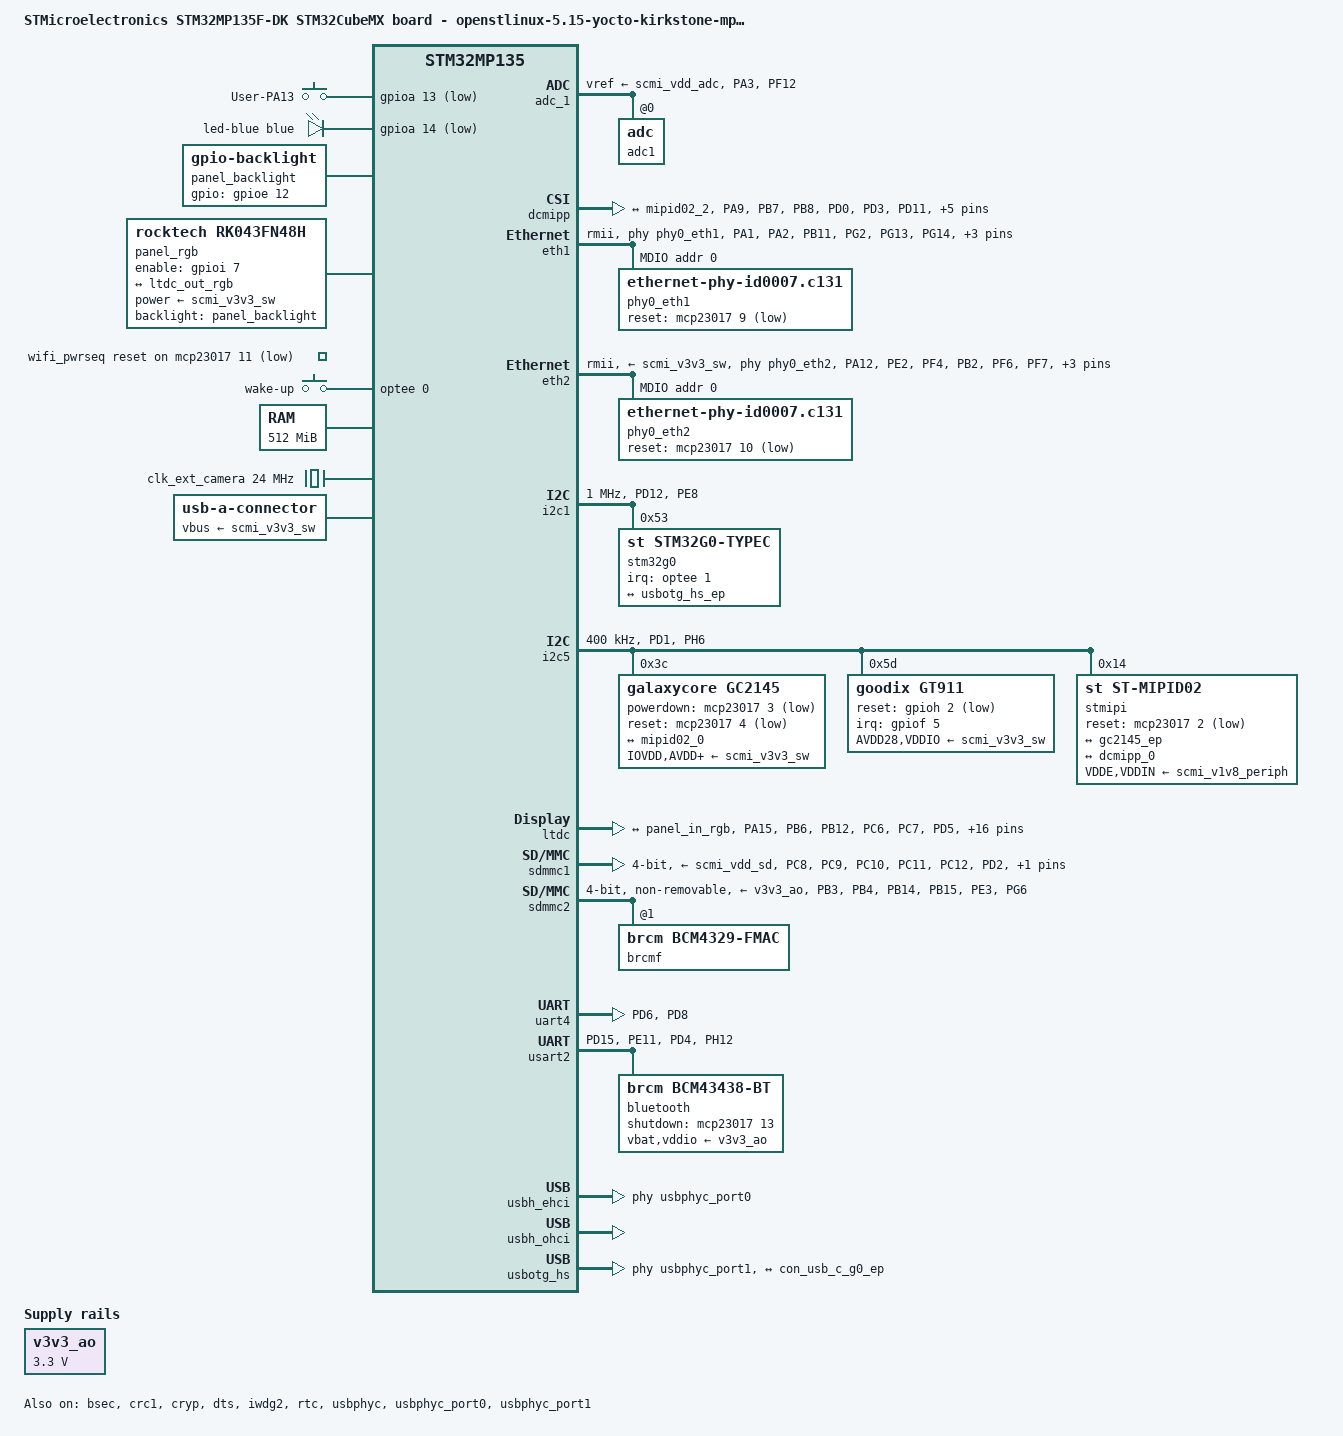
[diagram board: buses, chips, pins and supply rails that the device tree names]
/dts-v1/;
#include <dt-bindings/pinctrl/stm32-pinfunc.h>
#include "stm32mp135.dtsi"
#include "stm32mp13xf.dtsi"

/* USER CODE BEGIN includes */
#include <dt-bindings/gpio/gpio.h>
#include <dt-bindings/input/input.h>
#include <dt-bindings/leds/common.h>
#include <dt-bindings/rtc/rtc-stm32.h>
/* USER CODE END includes */

/{
	model = "STMicroelectronics STM32MP135F-DK STM32CubeMX board - openstlinux-5.15-yocto-kirkstone-mp1-v22.06.15";
	compatible = "st,stm32mp135f-board_135f-dk-mx", "st,stm32mp135";

	/* USER CODE BEGIN root */

	aliases{
		ethernet0 = &eth1;
		ethernet1 = &eth2;
		serial0 = &uart4;
		serial1 = &usart1;
		serial2 = &uart8;
		serial3 = &usart2;
	};

	chosen{
		#address-cells = <1>;
		#size-cells = <1>;
		ranges;
		stdout-path = "serial0:115200n8";

		framebuffer{
			compatible = "simple-framebuffer";
			clocks = <&rcc LTDC_PX>;
			status = "disabled";
		};
	};

	gpio-keys{
		compatible = "gpio-keys";

		user-pa13{
			label = "User-PA13";
			linux,code = <BTN_1>;
			gpios = <&gpioa 13 (GPIO_ACTIVE_LOW | GPIO_PULL_UP)>;
		};
	};

	leds{
		compatible = "gpio-leds";

		led-blue{
			function = LED_FUNCTION_HEARTBEAT;
			color = <LED_COLOR_ID_BLUE>;
			gpios = <&gpioa 14 GPIO_ACTIVE_LOW>;
			linux,default-trigger = "heartbeat";
			default-state = "off";
		};
	};

	v3v3_ao:v3v3_ao{
		compatible = "regulator-fixed";
		regulator-name = "v3v3_ao";
		regulator-min-microvolt = <3300000>;
		regulator-max-microvolt = <3300000>;
		regulator-always-on;
	};

	panel_backlight:panel-backlight{
		compatible = "gpio-backlight";
		gpios = <&gpioe 12 GPIO_ACTIVE_HIGH>;
		default-on;
		default-brightness-level = <0>;
		status = "okay";
	};

	panel_rgb:panel-rgb{
		compatible = "rocktech,rk043fn48h", "panel-dpi";
		enable-gpios = <&gpioi 7 GPIO_ACTIVE_HIGH>;
		backlight = <&panel_backlight>;
		power-supply = <&scmi_v3v3_sw>;
		data-mapping = "bgr666";
		status = "okay";
		width-mm = <105>;
		height-mm = <67>;

		port{

			panel_in_rgb:endpoint{
				remote-endpoint = <&ltdc_out_rgb>;
			};
		};

		panel-timing{
			clock-frequency = <10000000>;
			hactive = <480>;
			vactive = <272>;
			hsync-len = <52>;
			hfront-porch = <10>;
			hback-porch = <10>;
			vsync-len = <10>;
			vfront-porch = <10>;
			vback-porch = <10>;
			hsync-active = <0>;
			vsync-active = <0>;
			de-active = <1>;
			pixelclk-active = <1>;
		};
	};

	wifi_pwrseq:wifi-pwrseq{
		compatible = "mmc-pwrseq-simple";
		reset-gpios = <&mcp23017 11 GPIO_ACTIVE_LOW>;
	};

	wake_up{
		compatible = "gpio-keys";
		status = "okay";

		button{
			label = "wake-up";
			linux,code = <KEY_WAKEUP>;
			interrupts-extended = <&optee 0>;
			status = "okay";
		};
	};
	/* USER CODE END root */

	memory@c0000000{
		device_type = "memory";
		reg = <0xc0000000 0x20000000>;
	};

	reserved-memory{
		#address-cells = <1>;
		#size-cells = <1>;
		ranges;

		/* USER CODE BEGIN reserved-memory */

		optee_framebuffer@dd000000{
			reg = <0xdd000000 0x1000000>;
			no-map;
		};

		optee@de000000{
			reg = <0xde000000 0x2000000>;
			no-map;
		};
		/* USER CODE END reserved-memory */
	};

	clocks{

		/* USER CODE BEGIN clocks */

		clk_ext_camera:clk-ext-camera{
			#clock-cells = <0>;
			compatible = "fixed-clock";
			clock-frequency = <24000000>;
		};

		clk_mco1:clk-mco1{
			#clock-cells = <0>;
			compatible = "fixed-clock";
			clock-frequency = <24000000>;
		};
		/* USER CODE END clocks */
	};
};

&pinctrl{

	adc1_pins_mx:adc1_mx-0{

		pins{
			pinmux = <STM32_PINMUX('A', 3, ANALOG)>,
					<STM32_PINMUX('F', 12, ANALOG)>;
		};
	};

	adc1_sleep_pins_mx:adc1_sleep_mx-0{

		pins{
			pinmux = <STM32_PINMUX('A', 3, ANALOG)>,
					<STM32_PINMUX('F', 12, ANALOG)>;
		};
	};

	dcmipp_pins_mx:dcmipp_mx-0{

		pins{
			pinmux = <STM32_PINMUX('A', 9, AF13)>,
					<STM32_PINMUX('B', 7, AF14)>,
					<STM32_PINMUX('B', 8, AF13)>,
					<STM32_PINMUX('D', 0, AF13)>,
					<STM32_PINMUX('D', 3, AF13)>,
					<STM32_PINMUX('D', 11, AF14)>,
					<STM32_PINMUX('E', 4, AF13)>,
					<STM32_PINMUX('E', 14, AF13)>,
					<STM32_PINMUX('G', 9, AF13)>,
					<STM32_PINMUX('G', 10, AF13)>,
					<STM32_PINMUX('H', 8, AF13)>;
			bias-disable;
		};
	};

	dcmipp_sleep_pins_mx:dcmipp_sleep_mx-0{

		pins{
			pinmux = <STM32_PINMUX('A', 9, ANALOG)>,
					<STM32_PINMUX('B', 7, ANALOG)>,
					<STM32_PINMUX('B', 8, ANALOG)>,
					<STM32_PINMUX('D', 0, ANALOG)>,
					<STM32_PINMUX('D', 3, ANALOG)>,
					<STM32_PINMUX('D', 11, ANALOG)>,
					<STM32_PINMUX('E', 4, ANALOG)>,
					<STM32_PINMUX('E', 14, ANALOG)>,
					<STM32_PINMUX('G', 9, ANALOG)>,
					<STM32_PINMUX('G', 10, ANALOG)>,
					<STM32_PINMUX('H', 8, ANALOG)>;
		};
	};

	eth1_pins_mx:eth1_mx-0{

		pins1{
			pinmux = <STM32_PINMUX('A', 1, AF11)>,
					<STM32_PINMUX('A', 2, AF11)>,
					<STM32_PINMUX('B', 11, AF11)>,
					<STM32_PINMUX('G', 2, AF11)>,
					<STM32_PINMUX('G', 13, AF11)>,
					<STM32_PINMUX('G', 14, AF11)>;
			bias-disable;
			drive-push-pull;
			slew-rate = <1>;
		};

		pins2{
			pinmux = <STM32_PINMUX('C', 1, AF10)>,
					<STM32_PINMUX('C', 4, AF11)>,
					<STM32_PINMUX('C', 5, AF11)>;
			bias-disable;
		};
	};

	eth1_sleep_pins_mx:eth1_sleep_mx-0{

		pins{
			pinmux = <STM32_PINMUX('A', 1, ANALOG)>,
					<STM32_PINMUX('A', 2, ANALOG)>,
					<STM32_PINMUX('B', 11, ANALOG)>,
					<STM32_PINMUX('C', 1, ANALOG)>,
					<STM32_PINMUX('C', 4, ANALOG)>,
					<STM32_PINMUX('C', 5, ANALOG)>,
					<STM32_PINMUX('G', 2, ANALOG)>,
					<STM32_PINMUX('G', 13, ANALOG)>,
					<STM32_PINMUX('G', 14, ANALOG)>;
		};
	};

	eth2_pins_mx:eth2_mx-0{

		pins1{
			pinmux = <STM32_PINMUX('A', 12, AF11)>,
					<STM32_PINMUX('E', 2, AF10)>,
					<STM32_PINMUX('F', 4, AF11)>;
			bias-disable;
		};

		pins2{
			pinmux = <STM32_PINMUX('B', 2, AF11)>,
					<STM32_PINMUX('F', 6, AF11)>,
					<STM32_PINMUX('F', 7, AF11)>,
					<STM32_PINMUX('G', 5, AF10)>,
					<STM32_PINMUX('G', 8, AF13)>,
					<STM32_PINMUX('G', 11, AF10)>;
			bias-disable;
			drive-push-pull;
			slew-rate = <1>;
		};
	};

	eth2_sleep_pins_mx:eth2_sleep_mx-0{

		pins{
			pinmux = <STM32_PINMUX('A', 12, ANALOG)>,
					<STM32_PINMUX('B', 2, ANALOG)>,
					<STM32_PINMUX('E', 2, ANALOG)>,
					<STM32_PINMUX('F', 4, ANALOG)>,
					<STM32_PINMUX('F', 6, ANALOG)>,
					<STM32_PINMUX('F', 7, ANALOG)>,
					<STM32_PINMUX('G', 5, ANALOG)>,
					<STM32_PINMUX('G', 8, ANALOG)>,
					<STM32_PINMUX('G', 11, ANALOG)>;
		};
	};

	i2c1_pins_mx:i2c1_mx-0{

		pins{
			pinmux = <STM32_PINMUX('D', 12, AF5)>,
					<STM32_PINMUX('E', 8, AF5)>;
			bias-disable;
			drive-open-drain;
			slew-rate = <0>;
		};
	};

	i2c1_sleep_pins_mx:i2c1_sleep_mx-0{

		pins{
			pinmux = <STM32_PINMUX('D', 12, ANALOG)>,
					<STM32_PINMUX('E', 8, ANALOG)>;
		};
	};

	i2c5_pins_mx:i2c5_mx-0{

		pins{
			pinmux = <STM32_PINMUX('D', 1, AF4)>,
					<STM32_PINMUX('H', 6, AF4)>;
			bias-disable;
			drive-open-drain;
			slew-rate = <0>;
		};
	};

	i2c5_sleep_pins_mx:i2c5_sleep_mx-0{

		pins{
			pinmux = <STM32_PINMUX('D', 1, ANALOG)>,
					<STM32_PINMUX('H', 6, ANALOG)>;
		};
	};

	ltdc_pins_mx:ltdc_mx-0{

		pins{
			pinmux = <STM32_PINMUX('A', 15, AF11)>,
					<STM32_PINMUX('B', 6, AF7)>,
					<STM32_PINMUX('B', 12, AF13)>,
					<STM32_PINMUX('C', 6, AF14)>,
					<STM32_PINMUX('C', 7, AF14)>,
					<STM32_PINMUX('D', 5, AF14)>,
					<STM32_PINMUX('D', 9, AF13)>,
					<STM32_PINMUX('D', 10, AF14)>,
					<STM32_PINMUX('D', 14, AF14)>,
					<STM32_PINMUX('E', 0, AF14)>,
					<STM32_PINMUX('E', 7, AF14)>,
					<STM32_PINMUX('E', 9, AF14)>,
					<STM32_PINMUX('E', 13, AF14)>,
					<STM32_PINMUX('F', 1, AF13)>,
					<STM32_PINMUX('F', 2, AF14)>,
					<STM32_PINMUX('F', 3, AF14)>,
					<STM32_PINMUX('G', 0, AF14)>,
					<STM32_PINMUX('G', 4, AF11)>,
					<STM32_PINMUX('G', 7, AF14)>,
					<STM32_PINMUX('H', 9, AF11)>,
					<STM32_PINMUX('H', 13, AF14)>,
					<STM32_PINMUX('H', 14, AF11)>;
			bias-disable;
			drive-push-pull;
			slew-rate = <0>;
		};
	};

	ltdc_sleep_pins_mx:ltdc_sleep_mx-0{

		pins{
			pinmux = <STM32_PINMUX('A', 15, ANALOG)>,
					<STM32_PINMUX('B', 6, ANALOG)>,
					<STM32_PINMUX('B', 12, ANALOG)>,
					<STM32_PINMUX('C', 6, ANALOG)>,
					<STM32_PINMUX('C', 7, ANALOG)>,
					<STM32_PINMUX('D', 5, ANALOG)>,
					<STM32_PINMUX('D', 9, ANALOG)>,
					<STM32_PINMUX('D', 10, ANALOG)>,
					<STM32_PINMUX('D', 14, ANALOG)>,
					<STM32_PINMUX('E', 0, ANALOG)>,
					<STM32_PINMUX('E', 7, ANALOG)>,
					<STM32_PINMUX('E', 9, ANALOG)>,
					<STM32_PINMUX('E', 13, ANALOG)>,
					<STM32_PINMUX('F', 1, ANALOG)>,
					<STM32_PINMUX('F', 2, ANALOG)>,
					<STM32_PINMUX('F', 3, ANALOG)>,
					<STM32_PINMUX('G', 0, ANALOG)>,
					<STM32_PINMUX('G', 4, ANALOG)>,
					<STM32_PINMUX('G', 7, ANALOG)>,
					<STM32_PINMUX('H', 9, ANALOG)>,
					<STM32_PINMUX('H', 13, ANALOG)>,
					<STM32_PINMUX('H', 14, ANALOG)>;
		};
	};

	rtc_pins_mx:rtc_mx-0{

		pins{
			pinmux = <STM32_PINMUX('I', 1, ANALOG)>;
		};
	};

	rtc_sleep_pins_mx:rtc_sleep_mx-0{

		pins{
			pinmux = <STM32_PINMUX('I', 1, ANALOG)>;
		};
	};

	sdmmc1_pins_mx:sdmmc1_mx-0{

		pins{
			pinmux = <STM32_PINMUX('C', 8, AF12)>,
					<STM32_PINMUX('C', 9, AF12)>,
					<STM32_PINMUX('C', 10, AF12)>,
					<STM32_PINMUX('C', 11, AF12)>,
					<STM32_PINMUX('C', 12, AF12)>,
					<STM32_PINMUX('D', 2, AF12)>;
			bias-disable;
			drive-push-pull;
			slew-rate = <1>;
		};
	};

	sdmmc1_opendrain_pins_mx:sdmmc1_opendrain_mx-0{

		pins1{
			pinmux = <STM32_PINMUX('C', 8, AF12)>,
					<STM32_PINMUX('C', 9, AF12)>,
					<STM32_PINMUX('C', 10, AF12)>,
					<STM32_PINMUX('C', 11, AF12)>,
					<STM32_PINMUX('C', 12, AF12)>;
			bias-disable;
			drive-push-pull;
			slew-rate = <1>;
		};

		pins2{
			pinmux = <STM32_PINMUX('D', 2, AF12)>;
			bias-disable;
			drive-open-drain;
			slew-rate = <1>;
		};
	};

	sdmmc1_sleep_pins_mx:sdmmc1_sleep_mx-0{

		pins{
			pinmux = <STM32_PINMUX('C', 8, ANALOG)>,
					<STM32_PINMUX('C', 9, ANALOG)>,
					<STM32_PINMUX('C', 10, ANALOG)>,
					<STM32_PINMUX('C', 11, ANALOG)>,
					<STM32_PINMUX('C', 12, ANALOG)>,
					<STM32_PINMUX('D', 2, ANALOG)>;
		};
	};

	sdmmc2_pins_mx:sdmmc2_mx-0{

		pins{
			pinmux = <STM32_PINMUX('B', 3, AF10)>,
					<STM32_PINMUX('B', 4, AF10)>,
					<STM32_PINMUX('B', 14, AF10)>,
					<STM32_PINMUX('B', 15, AF10)>,
					<STM32_PINMUX('E', 3, AF10)>,
					<STM32_PINMUX('G', 6, AF10)>;
			bias-pull-up;
			drive-push-pull;
			slew-rate = <1>;
		};
	};

	sdmmc2_opendrain_pins_mx:sdmmc2_opendrain_mx-0{

		pins1{
			pinmux = <STM32_PINMUX('B', 3, AF10)>,
					<STM32_PINMUX('B', 4, AF10)>,
					<STM32_PINMUX('B', 14, AF10)>,
					<STM32_PINMUX('B', 15, AF10)>,
					<STM32_PINMUX('E', 3, AF10)>;
			bias-pull-up;
			drive-push-pull;
			slew-rate = <1>;
		};

		pins2{
			pinmux = <STM32_PINMUX('G', 6, AF10)>;
			bias-pull-up;
			drive-open-drain;
			slew-rate = <1>;
		};
	};

	sdmmc2_sleep_pins_mx:sdmmc2_sleep_mx-0{

		pins{
			pinmux = <STM32_PINMUX('B', 3, ANALOG)>,
					<STM32_PINMUX('B', 4, ANALOG)>,
					<STM32_PINMUX('B', 14, ANALOG)>,
					<STM32_PINMUX('B', 15, ANALOG)>,
					<STM32_PINMUX('E', 3, ANALOG)>,
					<STM32_PINMUX('G', 6, ANALOG)>;
		};
	};

	uart4_pins_mx:uart4_mx-0{

		pins1{
			pinmux = <STM32_PINMUX('D', 6, AF8)>;
			bias-disable;
			drive-push-pull;
			slew-rate = <0>;
		};

		pins2{
			pinmux = <STM32_PINMUX('D', 8, AF8)>;
			bias-disable;
		};
	};

	uart4_sleep_pins_mx:uart4_sleep_mx-0{

		pins{
			pinmux = <STM32_PINMUX('D', 6, ANALOG)>,
					<STM32_PINMUX('D', 8, ANALOG)>;
		};
	};

	usart2_pins_mx:usart2_mx-0{

		pins1{
			pinmux = <STM32_PINMUX('D', 15, AF1)>,
					<STM32_PINMUX('E', 11, AF2)>;
			bias-disable;
		};

		pins2{
			pinmux = <STM32_PINMUX('D', 4, AF3)>,
					<STM32_PINMUX('H', 12, AF1)>;
			bias-disable;
			drive-push-pull;
			slew-rate = <0>;
		};
	};

	usart2_sleep_pins_mx:usart2_sleep_mx-0{

		pins{
			pinmux = <STM32_PINMUX('D', 4, ANALOG)>,
					<STM32_PINMUX('D', 15, ANALOG)>,
					<STM32_PINMUX('E', 11, ANALOG)>,
					<STM32_PINMUX('H', 12, ANALOG)>;
		};
	};
};

&adc_1{
	pinctrl-names = "default", "sleep";
	pinctrl-0 = <&adc1_pins_mx>;
	pinctrl-1 = <&adc1_sleep_pins_mx>;
	status = "okay";

	/* USER CODE BEGIN adc_1 */
	vdda-supply = <&scmi_vdd_adc>;
	vref-supply = <&scmi_vdd_adc>;

	adc1:adc@0{
		status = "okay";

		channel@6{
			reg = <6>;
			st,min-sample-time-ns = <5000>;
		};

		channel@12{
			reg = <12>;
			st,min-sample-time-ns = <5000>;
		};
	};
	/* USER CODE END adc_1 */
};

&bsec{
	status = "okay";
};

&crc1{
	status = "okay";
};

&cryp{
	status = "okay";
};

&dcmipp{
	pinctrl-names = "default", "sleep";
	pinctrl-0 = <&dcmipp_pins_mx>;
	pinctrl-1 = <&dcmipp_sleep_pins_mx>;
	status = "okay";

	/* USER CODE BEGIN dcmipp */

	port{

		dcmipp_0:endpoint{
			remote-endpoint = <&mipid02_2>;
			bus-width = <8>;
			hsync-active = <0>;
			vsync-active = <0>;
			pclk-sample = <0>;
			pclk-max-frequency = <120000000>;
		};
	};
	/* USER CODE END dcmipp */
};

&dma1{
	status = "okay";

	/* USER CODE BEGIN dma1 */
	sram = <&dma_pool>;
	/* USER CODE END dma1 */
};

&dma2{
	status = "okay";

	/* USER CODE BEGIN dma2 */
	sram = <&dma_pool>;
	/* USER CODE END dma2 */
};

&dmamux1{
	status = "okay";
	dma-masters = <&dma1 &dma2>;
	dma-channels = <16>;
};

&dts{
	status = "okay";
};

&eth1{
	pinctrl-names = "default", "sleep";
	pinctrl-0 = <&eth1_pins_mx>;
	pinctrl-1 = <&eth1_sleep_pins_mx>;
	status = "okay";

	/* USER CODE BEGIN eth1 */
	phy-mode = "rmii";
	max-speed = <100>;
	phy-handle = <&phy0_eth1>;
	nvmem-cells = <&ethernet_mac1_address>;
	nvmem-cell-names = "mac-address";

	mdio1{
		#address-cells = <1>;
		#size-cells = <0>;
		compatible = "snps,dwmac-mdio";

		phy0_eth1:ethernet-phy@0{
			compatible = "ethernet-phy-id0007.c131";
			reset-gpios = <&mcp23017 9 GPIO_ACTIVE_LOW>;
			reg = <0>;
			wakeup-source;
		};
	};
	/* USER CODE END eth1 */
};

&eth2{
	pinctrl-names = "default", "sleep";
	pinctrl-0 = <&eth2_pins_mx>;
	pinctrl-1 = <&eth2_sleep_pins_mx>;
	status = "okay";

	/* USER CODE BEGIN eth2 */
	phy-mode = "rmii";
	max-speed = <100>;
	phy-handle = <&phy0_eth2>;
	st,ext-phyclk;
	phy-supply = <&scmi_v3v3_sw>;
	nvmem-cells = <&ethernet_mac2_address>;
	nvmem-cell-names = "mac-address";

	mdio1{
		#address-cells = <1>;
		#size-cells = <0>;
		compatible = "snps,dwmac-mdio";

		phy0_eth2:ethernet-phy@0{
			compatible = "ethernet-phy-id0007.c131";
			reset-gpios = <&mcp23017 10 GPIO_ACTIVE_LOW>;
			reg = <0>;
		};
	};
	/* USER CODE END eth2 */
};

&i2c1{
	pinctrl-names = "default", "sleep";
	pinctrl-0 = <&i2c1_pins_mx>;
	pinctrl-1 = <&i2c1_sleep_pins_mx>;
	status = "okay";

	/* USER CODE BEGIN i2c1 */
	i2c-scl-rising-time-ns = <96>;
	i2c-scl-falling-time-ns = <3>;
	clock-frequency = <1000000>;
	/delete-property/ dmas;
	/delete-property/ dma-names;

	mcp23017:pinctrl@21{
		compatible = "microchip,mcp23017";
		reg = <0x21>;
		gpio-controller;
		#gpio-cells = <2>;
		interrupts = <12 IRQ_TYPE_LEVEL_LOW>;
		interrupt-parent = <&gpiog>;
		pinctrl-names = "default";
		pinctrl-0 = <&mcp23017_pins_a>;
		interrupt-controller;
		#interrupt-cells = <2>;
		microchip,irq-mirror;
	};

	stm32g0@53{
		compatible = "st,stm32g0-typec";
		reg = <0x53>;
		interrupts-extended = <&optee 1>;
		firmware-name = "stm32g0-ucsi.mp135f-dk.fw";
		wakeup-source;

		connector{
			compatible = "usb-c-connector";
			label = "USB-C";

			port{

				con_usb_c_g0_ep:endpoint{
					remote-endpoint = <&usbotg_hs_ep>;
				};
			};
		};
	};
	/* USER CODE END i2c1 */
};

&i2c5{
	pinctrl-names = "default", "sleep";
	pinctrl-0 = <&i2c5_pins_mx>;
	pinctrl-1 = <&i2c5_sleep_pins_mx>;
	status = "okay";

	/* USER CODE BEGIN i2c5 */
	i2c-scl-rising-time-ns = <170>;
	i2c-scl-falling-time-ns = <5>;
	clock-frequency = <400000>;
	/delete-property/ dmas;
	/delete-property/ dma-names;

	gc2145:gc2145@3c{
		compatible = "galaxycore,gc2145";
		reg = <0x3c>;
		clocks = <&clk_ext_camera>;
		IOVDD-supply = <&scmi_v3v3_sw>;
		AVDD-supply = <&scmi_v3v3_sw>;
		DVDD-supply = <&scmi_v3v3_sw>;
		powerdown-gpios = <&mcp23017 3 (GPIO_ACTIVE_LOW | GPIO_PUSH_PULL)>;
		reset-gpios = <&mcp23017 4 (GPIO_ACTIVE_LOW | GPIO_PUSH_PULL)>;
		status = "okay";

		port{

			gc2145_ep:endpoint{
				remote-endpoint = <&mipid02_0>;
				clock-lanes = <0>;
				data-lanes = <1 2>;
			};
		};
	};

	goodix:goodix_ts@5d{
		compatible = "goodix,gt911";
		reg = <0x5d>;
		pinctrl-names = "default";
		pinctrl-0 = <&goodix_pins_a>;
		interrupt-parent = <&gpiof>;
		interrupts = <5 IRQ_TYPE_EDGE_FALLING>;
		reset-gpios = <&gpioh 2 GPIO_ACTIVE_LOW>;
		AVDD28-supply = <&scmi_v3v3_sw>;
		VDDIO-supply = <&scmi_v3v3_sw>;
		touchscreen-size-x = <480>;
		touchscreen-size-y = <272>;
		status = "okay";
	};

	ov5640:camera@3c{
		compatible = "ovti,ov5640";
		reg = <0x3c>;
		clocks = <&clk_ext_camera>;
		clock-names = "xclk";
		DOVDD-supply = <&scmi_v3v3_sw>;
		status = "disabled";
		powerdown-gpios = <&mcp23017 3 (GPIO_ACTIVE_LOW | GPIO_PUSH_PULL)>;
		reset-gpios = <&mcp23017 4 (GPIO_ACTIVE_LOW | GPIO_PUSH_PULL)>;

		port{

			ov5640_0:endpoint{
				clock-lanes = <0>;
				data-lanes = <1 2>;
			};
		};
	};

	stmipi:stmipi@14{
		compatible = "st,st-mipid02";
		reg = <0x14>;
		status = "okay";
		clocks = <&clk_mco1>;
		clock-names = "xclk";
		VDDE-supply = <&scmi_v1v8_periph>;
		VDDIN-supply = <&scmi_v1v8_periph>;
		reset-gpios = <&mcp23017 2 (GPIO_ACTIVE_LOW | GPIO_PUSH_PULL)>;

		ports{
			#address-cells = <1>;
			#size-cells = <0>;

			port@0{
				reg = <0>;

				mipid02_0:endpoint{
					data-lanes = <1 2>;
					lane-polarities = <0 0 0>;
					remote-endpoint = <&gc2145_ep>;
				};
			};

			port@2{
				reg = <2>;

				mipid02_2:endpoint{
					bus-width = <8>;
					hsync-active = <0>;
					vsync-active = <0>;
					pclk-sample = <0>;
					remote-endpoint = <&dcmipp_0>;
				};
			};
		};
	};
	/* USER CODE END i2c5 */
};

&iwdg2{
	status = "okay";

	/* USER CODE BEGIN iwdg2 */
	timeout-sec = <32>;
	/* USER CODE END iwdg2 */
};

&ltdc{
	pinctrl-names = "default", "sleep";
	pinctrl-0 = <&ltdc_pins_mx>;
	pinctrl-1 = <&ltdc_sleep_pins_mx>;
	status = "okay";

	/* USER CODE BEGIN ltdc */

	port{
		#address-cells = <1>;
		#size-cells = <0>;

		ltdc_out_rgb:endpoint@0{
			reg = <0>;
			remote-endpoint = <&panel_in_rgb>;
		};
	};
	/* USER CODE END ltdc */
};

&mdma{
	status = "okay";
};

&rcc{
	status = "okay";
};

&rtc{
	pinctrl-names = "default", "sleep";
	pinctrl-0 = <&rtc_pins_mx>;
	pinctrl-1 = <&rtc_sleep_pins_mx>;
	status = "okay";

	/* USER CODE BEGIN rtc */
	st,lsco = <RTC_OUT2_RMP>;
	/* USER CODE END rtc */
};

&sdmmc1{
	pinctrl-names = "default", "opendrain", "sleep";
	pinctrl-0 = <&sdmmc1_pins_mx>;
	pinctrl-1 = <&sdmmc1_opendrain_pins_mx>;
	pinctrl-2 = <&sdmmc1_sleep_pins_mx>;
	status = "okay";

	/* USER CODE BEGIN sdmmc1 */
	cd-gpios = <&gpioh 4 (GPIO_ACTIVE_LOW | GPIO_PULL_UP)>;
	disable-wp;
	st,neg-edge;
	bus-width = <4>;
	vmmc-supply = <&scmi_vdd_sd>;
	/* USER CODE END sdmmc1 */
};

&sdmmc2{
	pinctrl-names = "default", "opendrain", "sleep";
	pinctrl-0 = <&sdmmc2_pins_mx>;
	pinctrl-1 = <&sdmmc2_opendrain_pins_mx>;
	pinctrl-2 = <&sdmmc2_sleep_pins_mx>;
	status = "okay";

	/* USER CODE BEGIN sdmmc2 */
	non-removable;
	st,neg-edge;
	bus-width = <4>;
	vmmc-supply = <&v3v3_ao>;
	mmc-pwrseq = <&wifi_pwrseq>;
	#address-cells = <1>;
	#size-cells = <0>;

	brcmf:bcrmf@1{
		reg = <1>;
		compatible = "brcm,bcm4329-fmac";
	};
	/* USER CODE END sdmmc2 */
};

&uart4{
	pinctrl-names = "default", "sleep";
	pinctrl-0 = <&uart4_pins_mx>;
	pinctrl-1 = <&uart4_sleep_pins_mx>;
	status = "okay";

	/* USER CODE BEGIN uart4 */
	/delete-property/ dmas;
	/delete-property/ dma-names;
	/* USER CODE END uart4 */
};

&usart2{
	pinctrl-names = "default", "sleep";
	pinctrl-0 = <&usart2_pins_mx>;
	pinctrl-1 = <&usart2_sleep_pins_mx>;
	status = "okay";

	/* USER CODE BEGIN usart2 */
	uart-has-rtscts;

	bluetooth{
		shutdown-gpios = <&mcp23017 13 GPIO_ACTIVE_HIGH>;
		compatible = "brcm,bcm43438-bt";
		max-speed = <3000000>;
		vbat-supply = <&v3v3_ao>;
		vddio-supply = <&v3v3_ao>;
	};
	/* USER CODE END usart2 */
};

&usbh_ehci{
	status = "okay";

	/* USER CODE BEGIN usbh_ehci */
	phys = <&usbphyc_port0>;
	/* USER CODE END usbh_ehci */
};

&usbh_ohci{
	status = "okay";
};

&usbotg_hs{
	status = "okay";

	/* USER CODE BEGIN usbotg_hs */
	phys = <&usbphyc_port1 0>;
	phy-names = "usb2-phy";
	usb-role-switch;

	port{

		usbotg_hs_ep:endpoint{
			remote-endpoint = <&con_usb_c_g0_ep>;
		};
	};
	/* USER CODE END usbotg_hs */
};

&usbphyc{
	status = "okay";
};

&usbphyc_port0{
	status = "okay";

	/* USER CODE BEGIN usbphyc_port0 */
	phy-supply = <&scmi_vdd_usb>;
	st,current-boost-microamp = <1000>;
	st,decrease-hs-slew-rate;
	st,tune-hs-dc-level = <2>;
	st,enable-hs-rftime-reduction;
	st,trim-hs-current = <11>;
	st,trim-hs-impedance = <2>;
	st,tune-squelch-level = <1>;
	st,enable-hs-rx-gain-eq;
	st,no-hs-ftime-ctrl;
	st,no-lsfs-sc;

	connector{
		compatible = "usb-a-connector";
		vbus-supply = <&scmi_v3v3_sw>;
	};
	/* USER CODE END usbphyc_port0 */
};

&usbphyc_port1{
	status = "okay";

	/* USER CODE BEGIN usbphyc_port1 */
	phy-supply = <&scmi_vdd_usb>;
	st,current-boost-microamp = <1000>;
	st,decrease-hs-slew-rate;
	st,tune-hs-dc-level = <2>;
	st,enable-hs-rftime-reduction;
	st,trim-hs-current = <11>;
	st,trim-hs-impedance = <2>;
	st,tune-squelch-level = <1>;
	st,enable-hs-rx-gain-eq;
	st,no-hs-ftime-ctrl;
	st,no-lsfs-sc;
	/* USER CODE END usbphyc_port1 */
};

/* USER CODE BEGIN addons */

&scmi_regu{

	scmi_vddcpu:voltd-vddcpu{
		voltd-name = "vddcpu";
		regulator-name = "vddcpu";
	};

	scmi_vdd:voltd-vdd{
		voltd-name = "vdd";
		regulator-name = "vdd";
	};

	scmi_vddcore:voltd-vddcore{
		voltd-name = "vddcore";
		regulator-name = "vddcore";
	};

	scmi_vdd_adc:voltd-vdd_adc{
		voltd-name = "vdd_adc";
		regulator-name = "vdd_adc";
	};

	scmi_vdd_usb:voltd-vdd_usb{
		voltd-name = "vdd_usb";
		regulator-name = "vdd_usb";
	};

	scmi_vdd_sd:voltd-vdd_sd{
		voltd-name = "vdd_sd";
		regulator-name = "vdd_sd";
	};

	scmi_v1v8_periph:voltd-v1v8_periph{
		voltd-name = "v1v8_periph";
		regulator-name = "v1v8_periph";
	};

	scmi_v3v3_sw:voltd-v3v3_sw{
		voltd-name = "v3v3_sw";
		regulator-name = "v3v3_sw";
	};
};

&sram{

	dma_pool:dma-sram@0{
		reg = <0x0 0x4000>;
		pool;
	};
};
/* USER CODE END addons */
